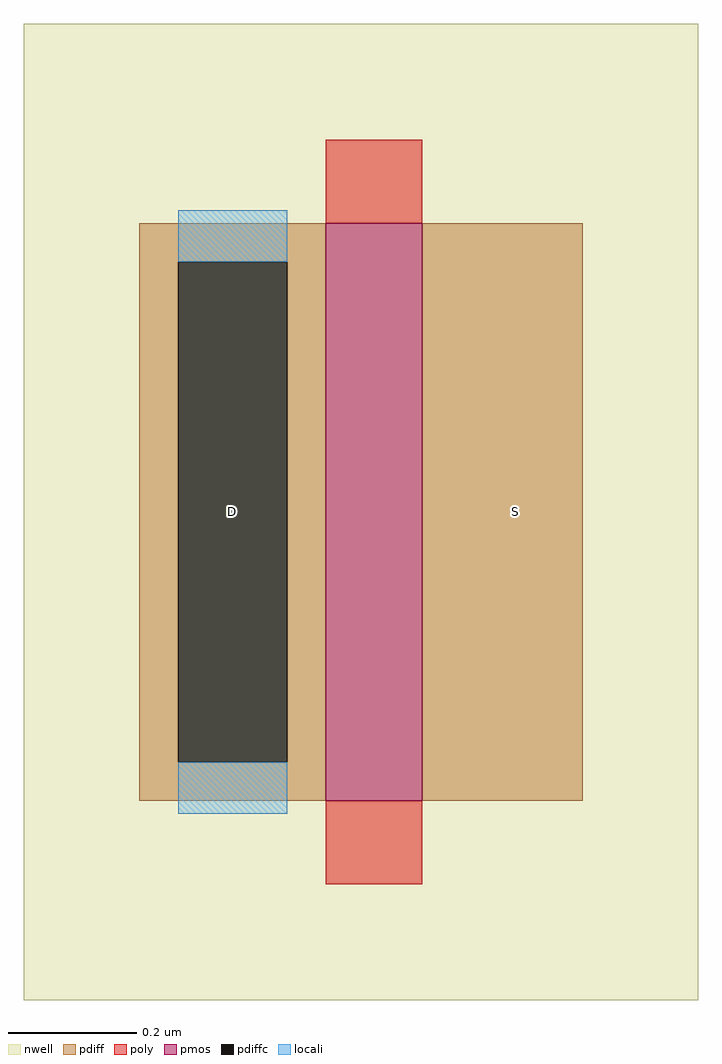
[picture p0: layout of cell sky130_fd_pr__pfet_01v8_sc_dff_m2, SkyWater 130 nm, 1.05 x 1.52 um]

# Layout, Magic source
magic
tech sky130A
magscale 1 2
<< nwell >>
rect -109 -152 101 152
<< pmos >>
rect -15 -90 15 90
<< pdiff >>
rect -73 78 -15 90
rect -73 -78 -61 78
rect -27 -78 -15 78
rect -73 -90 -15 -78
rect 15 -90 65 90
<< pdiffc >>
rect -61 -78 -27 78
<< poly >>
rect -15 90 15 116
rect -15 -116 15 -90
<< locali >>
rect -61 78 -27 94
rect -61 -94 -27 -78
<< labels >>
rlabel pdiffc -44 0 -44 0 0 D
port 1 nsew
rlabel pdiff 44 0 44 0 0 S
port 2 nsew
<< end >>
